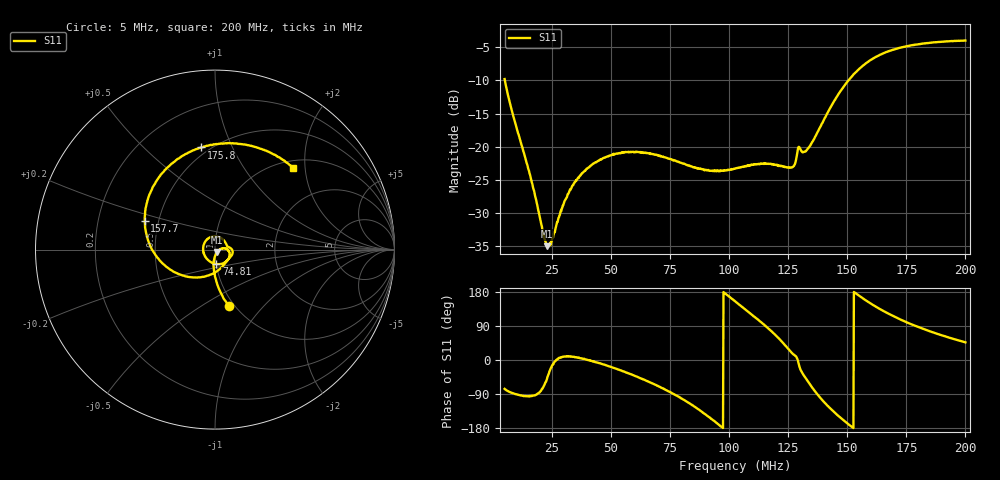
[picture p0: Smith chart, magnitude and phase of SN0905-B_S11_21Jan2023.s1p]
# Hz S DB R 50
! CMT, M5045, 22160017, 22.4.3/2
! Date: 1/21/2023 19:45:43
! Data: Format (Calibration Info)
! Freq	S11:dB/Ang(F1)
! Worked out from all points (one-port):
!   1001 points, 5 MHz to 200 MHz, reference 50 ohm
!   lowest |S11| = -35.0 dB at 22.94 MHz (marker M1), VSWR 1.04, Z = 51.1 - j1.39 ohm
!   |S11| at or under -10 dB: 5.101 MHz to 150.5 MHz (145.4 MHz wide, 187 % of centre)
!   S11 on the Smith chart (normalised r, x): 5 MHz: 0.94, -0.66; 74.81 MHz: 1.00, -0.16; 157.7 MHz: 0.42, +0.16; 175.8 MHz: 0.45, +0.77; 200 MHz: 1.14, +1.73
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5000000  -9.80 -76.1
1.163e7  -19.12 -93.0
1.67e7  -25.56 -94.8
2.177e7  -33.71 -66.5
2.294e7  -34.97 -49.7
2.4695e7  -34.39 -20.2
2.9375e7  -29.23 7.9
3.3665e7  -25.86 8.6
3.893e7  -23.60 2.0
5.375e7  -20.97 -26.5
7.481e7  -21.83 -84.3
7.8125e7  -22.21 -95.2
9.236e7  -23.63 -155.3
1.025e8  -23.29 154.9
1.15565e8  -22.57 88.7
1.26875e8  -23.06 16.7
1.3019e8  -20.36 -24.9
1.33505e8  -20.23 -57.8
1.41305e8  -15.12 -118.3
1.4618e8  -12.14 -147.2
1.5125e8  -9.70 -173.2
1.57685e8  -7.49 158.0
1.6217e8  -6.46 140.5
1.6724e8  -5.65 122.8
1.75625e8  -4.84 98.2
1.7582e8  -4.82 97.7
1.86545e8  -4.29 72.3
2e8  -4.01 46.5
